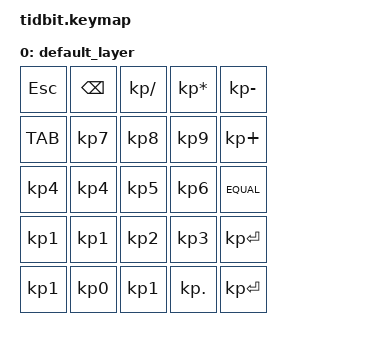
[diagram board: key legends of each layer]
#include <behaviors.dtsi>
#include <dt-bindings/zmk/keys.h>
#include <dt-bindings/zmk/bt.h>
#include <dt-bindings/zmk/outputs.h>

/ {
    keymap {
        compatible = "zmk,keymap";

        default_layer {
            bindings = <
    &kp ESC       &kp BSPC      &kp KP_DIVIDE  &kp KP_MULTIPLY   &kp KP_MINUS
    &kp K_TAB     &kp KP_N7     &kp KP_N8      &kp KP_N9         &kp KP_PLUS
    &kp KP_N4     &kp KP_N4     &kp KP_N5      &kp KP_N6         &kp K_EQUAL
    &kp KP_N1     &kp KP_N1     &kp KP_N2      &kp KP_N3         &kp KP_ENTER
    &kp KP_N1     &kp KP_N0     &kp KP_N1      &kp KP_DOT        &kp KP_ENTER
            >;
        };
    }
}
